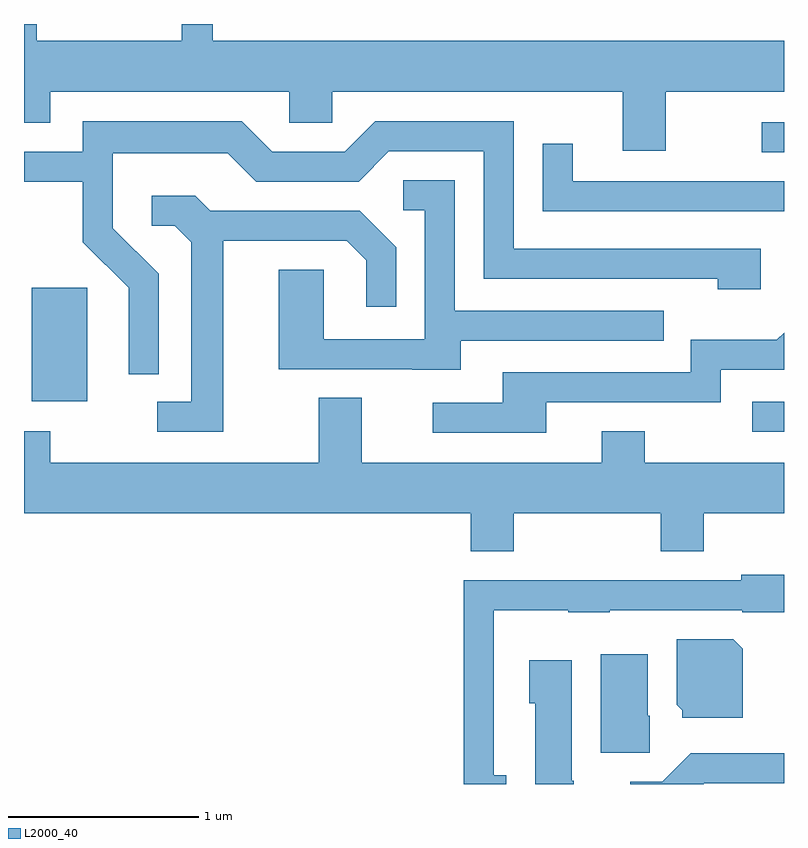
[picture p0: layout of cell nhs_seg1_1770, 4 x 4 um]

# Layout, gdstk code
import gdstk
lib = gdstk.Library(unit=1e-6, precision=1e-09)
def R(c, l, rs):  # rectangles x0, y0, x1, y1
    for r in rs: c.add(gdstk.rectangle(r[:2], r[2:], *l))
def P(c, l, *ps):  # polygons
    for p in ps: c.add(gdstk.Polygon(p, *l))
L2000_40 = (2000, 40)

nhs_seg1_1770 = lib.new_cell('nhs_seg1_1770')
R(nhs_seg1_1770, L2000_40, [(243.443,895.566,243.611,895.724), (239.651,895.726,239.944,896.324), (243.493,897.036,243.611,897.194)])
P(nhs_seg1_1770, L2000_40, [(242.989,897.356),(243.611,897.356),(243.611,897.624),(240.604,897.624),(240.604,897.712),(240.441,897.712),(240.441,897.624),(239.679,897.624),(239.679,897.712),(239.611,897.712),(239.611,897.191),(239.749,897.191),(239.749,897.356),(241.006,897.356),(241.006,897.191),(241.234,897.191),(241.234,897.356),(242.761,897.356),(242.761,897.046),(242.989,897.046)],
  [(240.319,896.397),(240.079,896.637),(240.079,897.031),(240.684,897.031),(240.834,896.881),(241.372,896.881),(241.532,897.041),(242.031,897.041),(242.031,896.371),(243.261,896.371),(243.261,896.316),(243.489,896.316),(243.489,896.529),(242.189,896.529),(242.189,897.199),(241.459,897.199),(241.299,897.039),(240.917,897.039),(240.757,897.199),(239.921,897.199),(239.921,897.039),(239.611,897.039),(239.611,896.881),(239.921,896.881),(239.921,896.564),(240.161,896.324),(240.161,895.868),(240.319,895.868)],
  [(243.611,896.884),(242.499,896.884),(242.499,897.083),(242.341,897.083),(242.341,896.726),(243.611,896.726)],
  [(241.909,896.046),(242.978,896.046),(242.978,896.204),(241.879,896.204),(241.879,896.889),(241.608,896.889),(241.608,896.731),(241.721,896.731),(241.721,896.054),(241.189,896.054),(241.189,896.419),(240.951,896.419),(240.951,895.896),(241.655,895.896),(241.655,895.891),(241.909,895.891)],
  [(240.659,896.571),(241.309,896.571),(241.411,896.469),(241.411,896.223),(241.569,896.223),(241.569,896.537),(241.377,896.729),(240.592,896.729),(240.512,896.809),(240.283,896.809),(240.283,896.651),(240.404,896.651),(240.491,896.564),(240.491,895.724),(240.313,895.724),(240.313,895.566),(240.659,895.566)],
  [(242.359,895.721),(243.279,895.721),(243.279,895.891),(243.611,895.891),(243.611,896.086),(243.574,896.049),(243.121,896.049),(243.121,895.879),(242.131,895.879),(242.131,895.719),(241.763,895.719),(241.763,895.561),(242.359,895.561)],
  [(242.189,895.136),(242.961,895.136),(242.961,894.936),(243.189,894.936),(243.189,895.136),(243.611,895.136),(243.611,895.404),(242.879,895.404),(242.879,895.569),(242.651,895.569),(242.651,895.404),(241.389,895.404),(241.389,895.744),(241.161,895.744),(241.161,895.404),(239.749,895.404),(239.749,895.569),(239.611,895.569),(239.611,895.136),(241.961,895.136),(241.961,894.936),(242.189,894.936)],
  [(242.149,893.759),(242.084,893.759),(242.084,894.626),(242.475,894.626),(242.475,894.616),(242.695,894.616),(242.695,894.626),(243.39,894.626),(243.39,894.616),(243.611,894.616),(243.611,894.814),(243.386,894.814),(243.386,894.784),(241.926,894.784),(241.926,893.712),(242.149,893.712)],
  [(243.394,894.424),(243.344,894.474),(243.046,894.474),(243.046,894.129),(243.076,894.099),(243.076,894.061),(243.394,894.061)],
  [(242.904,894.07),(242.894,894.07),(242.894,894.394),(242.646,894.394),(242.646,893.876),(242.904,893.876)],
  [(242.504,893.73),(242.494,893.73),(242.494,894.364),(242.271,894.364),(242.271,894.136),(242.301,894.136),(242.301,893.712),(242.504,893.712)],
  [(243.192,893.716),(243.611,893.716),(243.611,893.874),(243.119,893.874),(242.969,893.724),(242.803,893.724),(242.803,893.712),(243.188,893.712)])

lib.write_gds('nhs_seg1_1770.gds')
